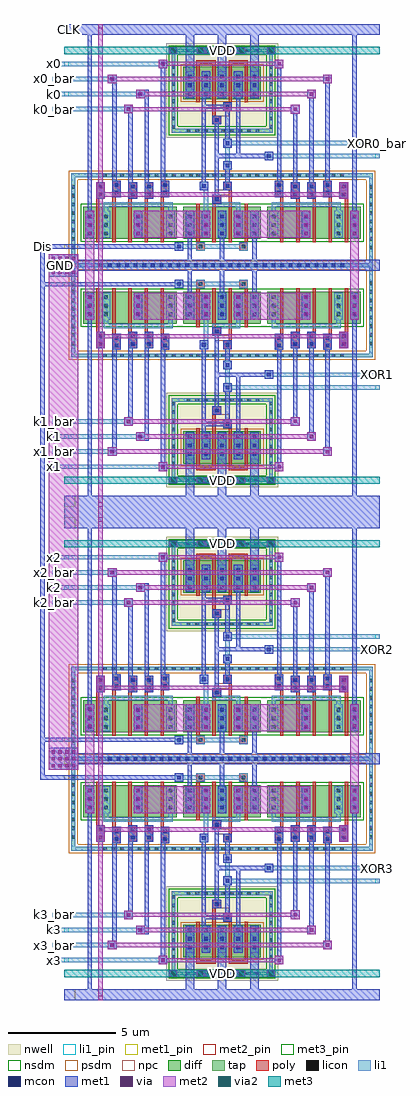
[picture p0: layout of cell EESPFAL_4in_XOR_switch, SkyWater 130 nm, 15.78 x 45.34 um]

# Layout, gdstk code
import gdstk
lib = gdstk.Library(unit=1e-6, precision=1e-09)
def R(c, l, rs):  # rectangles x0, y0, x1, y1
    for r in rs: c.add(gdstk.rectangle(r[:2], r[2:], *l))
def A(c, l, x, y, w, h, nx, ny, dx, dy):  # array of equal rectangles
    R(c, l, [(x+i*dx, y+j*dy, x+i*dx+w, y+j*dy+h) for i in range(nx) for j in range(ny)])
nwell = (64, 20)
diff = (65, 20)
tap = (65, 44)
poly = (66, 20)
licon = (66, 44)
li1_pin = (67, 16)
li1 = (67, 20)
mcon = (67, 44)
met1_pin = (68, 16)
met1 = (68, 20)
via = (68, 44)
met2_pin = (69, 16)
met2 = (69, 20)
via2 = (69, 44)
met3_pin = (70, 16)
met3 = (70, 20)
nsdm = (93, 44)
psdm = (94, 20)
npc = (95, 20)

eespfal_xor_switch = lib.new_cell('EESPFAL_XOR_switch')
R(eespfal_xor_switch, nwell, [(4.725,6.165,9.925,10.565)])
R(eespfal_xor_switch, diff, [(0.875,1.475,5.225,2.975), (5.525,1.475,9.125,2.975), (9.425,1.475,13.775,2.975), (5.525,7.965,9.125,9.465)])
R(eespfal_xor_switch, tap, [(0.325,0.165,14.325,0.335), (0.325,0.335,0.495,4.35), (14.155,0.335,14.325,4.35), (0.325,4.35,14.325,4.52), (4.975,6.415,9.675,6.585), (4.975,6.585,5.145,10.145), (9.505,6.585,9.675,10.145), (4.975,10.145,9.675,10.315)])
R(eespfal_xor_switch, poly, [(6.125,0.92,6.525,1.32), (8.125,0.92,8.525,1.32), (6.125,1.32,6.275,3.12), (6.875,1.32,7.025,3.12), (7.625,1.32,7.775,3.74), (8.375,1.32,8.525,3.12), (1.475,1.325,1.625,3.345), (2.225,1.325,2.375,3.42), (2.975,1.325,3.125,3.345), (3.725,1.325,3.875,3.345), (4.475,1.325,4.625,3.42), (10.025,1.325,10.175,3.42), (10.775,1.325,10.925,3.345), (11.525,1.325,11.675,3.345), (12.275,1.325,12.425,3.42), (13.025,1.325,13.175,3.345), (6.875,3.12,7.275,3.52), (1.475,3.345,1.875,4.105), (2.975,3.345,3.375,4.105), (3.725,3.345,4.125,4.105), (10.525,3.345,10.925,4.105), (11.275,3.345,11.675,4.105), (12.775,3.345,13.175,4.105), (2.22,3.42,2.62,4.18), (4.475,3.42,4.875,4.18), (9.775,3.42,10.175,4.18), (12.025,3.42,12.425,4.18), (7.375,3.74,7.775,4.14), (6.875,6.795,7.275,7.195), (6.875,7.195,7.025,9.615), (7.375,7.415,7.775,7.815), (6.125,7.815,6.275,9.615), (7.625,7.815,7.775,9.615), (8.375,7.815,8.525,9.615), (6.125,9.615,7.025,9.765), (7.625,9.615,8.525,9.765)])
A(eespfal_xor_switch, licon, 1.62, 0.165, 0.17, 0.17, 29, 1, 0.4, 0)
A(eespfal_xor_switch, licon, 0.325, 0.995, 0.17, 0.17, 1, 8, 0, 0.4)
A(eespfal_xor_switch, licon, 14.155, 0.995, 0.17, 0.17, 1, 8, 0, 0.4)
A(eespfal_xor_switch, licon, 1.09, 1.64, 0.17, 0.17, 1, 3, 0, 0.4)
A(eespfal_xor_switch, licon, 1.84, 1.64, 0.17, 0.17, 3, 3, 1.5, 0.4)
A(eespfal_xor_switch, licon, 5.74, 1.64, 0.17, 0.17, 5, 3, 0.75, 0.4)
A(eespfal_xor_switch, licon, 9.64, 1.64, 0.17, 0.17, 3, 3, 1.5, 0.4)
A(eespfal_xor_switch, licon, 13.39, 1.64, 0.17, 0.17, 1, 3, 0, 0.4)
A(eespfal_xor_switch, licon, 1.795, 4.35, 0.17, 0.17, 11, 1, 0.4, 0)
A(eespfal_xor_switch, licon, 6.875, 4.35, 0.17, 0.17, 8, 1, 0.4, 0)
A(eespfal_xor_switch, licon, 10.015, 4.35, 0.17, 0.17, 8, 1, 0.4, 0)
A(eespfal_xor_switch, licon, 5.685, 6.415, 0.17, 0.17, 9, 1, 0.4, 0)
A(eespfal_xor_switch, licon, 4.975, 6.585, 0.17, 0.17, 1, 8, 0, 0.4)
A(eespfal_xor_switch, licon, 9.505, 6.585, 0.17, 0.17, 1, 8, 0, 0.4)
A(eespfal_xor_switch, licon, 5.74, 8.13, 0.17, 0.17, 5, 3, 0.75, 0.4)
A(eespfal_xor_switch, licon, 5.625, 10.145, 0.17, 0.17, 9, 1, 0.4, 0)
R(eespfal_xor_switch, licon, [(6.24,1.035,6.41,1.205), (8.24,1.035,8.41,1.205), (6.99,3.235,7.16,3.405), (1.59,3.46,1.76,3.63), (3.09,3.46,3.26,3.63), (3.84,3.46,4.01,3.63), (10.64,3.46,10.81,3.63), (11.39,3.46,11.56,3.63), (12.89,3.46,13.06,3.63), (2.335,3.535,2.505,3.705), (4.59,3.535,4.76,3.705), (9.89,3.535,10.06,3.705), (12.14,3.535,12.31,3.705), (1.59,3.82,1.76,3.99), (3.09,3.82,3.26,3.99), (3.84,3.82,4.01,3.99), (10.64,3.82,10.81,3.99), (11.39,3.82,11.56,3.99), (12.89,3.82,13.06,3.99), (7.49,3.855,7.66,4.025), (2.335,3.895,2.505,4.065), (4.59,3.895,4.76,4.065), (9.89,3.895,10.06,4.065), (12.14,3.895,12.31,4.065), (6.135,4.35,6.305,4.52), (6.535,4.35,6.705,4.52), (6.99,6.91,7.16,7.08), (7.49,7.53,7.66,7.7)])
A(eespfal_xor_switch, li1_pin, 0, 7.405, 0.2, 0.2, 1, 4, 0, 0.7)
R(eespfal_xor_switch, li1_pin, [(14.45,5.23,14.65,5.43), (14.45,5.83,14.65,6.03)])
A(eespfal_xor_switch, li1, 1.725, 1.525, 0.4, 1.25, 3, 1, 1.5, 0)
A(eespfal_xor_switch, li1, 5.625, 1.525, 0.4, 1.25, 5, 2, 0.75, 6.49)
A(eespfal_xor_switch, li1, 9.525, 1.525, 0.4, 1.25, 3, 1, 1.5, 0)
R(eespfal_xor_switch, li1, [(0.325,0.165,14.325,0.335), (0.325,0.335,0.495,4.35), (14.155,0.335,14.325,4.35), (5.125,0.92,5.525,1.02), (6.125,0.92,6.525,1.02), (8.125,0.92,8.525,1.02), (5.125,1.02,8.525,1.22), (5.125,1.22,5.525,1.32), (6.125,1.22,6.525,1.32), (8.125,1.22,8.525,1.32), (0.975,1.525,1.375,2.775), (13.275,1.525,13.675,2.775), (1.825,2.775,2.025,2.975), (4.825,2.775,5.025,2.975), (6.475,2.775,6.675,3.74), (7.975,2.775,8.175,2.975), (9.625,2.775,9.825,2.975), (12.625,2.775,12.825,2.975), (1.825,2.975,5.025,3.175), (6.875,2.975,8.175,3.175), (9.625,2.975,12.825,3.175), (6.875,3.175,7.275,3.52), (1.475,3.345,1.875,4.105), (2.975,3.345,3.375,4.105), (3.725,3.345,4.125,4.105), (10.525,3.345,10.925,4.105), (11.275,3.345,11.675,4.105), (12.775,3.345,13.175,4.105), (2.22,3.42,2.62,4.18), (4.475,3.42,4.875,4.18), (9.775,3.42,10.175,4.18), (12.025,3.42,12.425,4.18), (6.275,3.74,6.675,4.14), (7.375,3.74,7.775,4.14), (0.325,4.35,14.325,4.52), (7.375,4.69,7.775,5.09), (7.475,5.09,7.675,5.72), (9.295,5.13,9.695,5.23), (9.295,5.23,14.65,5.43), (9.295,5.43,9.695,5.53), (7.375,5.72,7.775,5.83), (7.375,5.83,14.65,6.03), (7.375,6.03,7.775,6.12), (4.975,6.415,9.675,6.585), (4.975,6.585,5.145,10.145), (9.505,6.585,9.675,10.145), (6.875,6.795,7.275,7.195), (2.775,7.305,3.175,7.405), (0,7.405,3.175,7.605), (7.375,7.415,7.775,7.815), (2.775,7.605,3.175,7.705), (3.325,8.005,3.725,8.105), (0,8.105,3.725,8.305), (3.325,8.305,3.725,8.405), (2.02,8.705,2.42,8.805), (0,8.805,2.42,9.005), (2.02,9.005,2.42,9.105), (4.375,9.41,4.775,9.505), (0,9.505,4.775,9.705), (4.375,9.705,4.775,9.81), (4.975,10.145,9.675,10.315)])
A(eespfal_xor_switch, mcon, 1.62, 0.165, 0.17, 0.17, 29, 1, 0.4, 0)
A(eespfal_xor_switch, mcon, 1.09, 1.64, 0.17, 0.17, 1, 3, 0, 0.4)
A(eespfal_xor_switch, mcon, 3.34, 1.64, 0.17, 0.17, 1, 3, 0, 0.4)
A(eespfal_xor_switch, mcon, 5.74, 1.64, 0.17, 0.17, 5, 3, 0.75, 0.4)
A(eespfal_xor_switch, mcon, 11.14, 1.64, 0.17, 0.17, 1, 3, 0, 0.4)
A(eespfal_xor_switch, mcon, 13.39, 1.64, 0.17, 0.17, 1, 3, 0, 0.4)
A(eespfal_xor_switch, mcon, 5.74, 8.13, 0.17, 0.17, 5, 3, 0.75, 0.4)
R(eespfal_xor_switch, mcon, [(5.24,1.035,5.41,1.205), (6.99,3.235,7.16,3.405), (1.59,3.46,1.76,3.63), (3.09,3.46,3.26,3.63), (3.84,3.46,4.01,3.63), (10.64,3.46,10.81,3.63), (11.39,3.46,11.56,3.63), (12.89,3.46,13.06,3.63), (2.335,3.535,2.505,3.705), (4.59,3.535,4.76,3.705), (9.89,3.535,10.06,3.705), (12.14,3.535,12.31,3.705), (1.59,3.82,1.76,3.99), (3.09,3.82,3.26,3.99), (3.84,3.82,4.01,3.99), (10.64,3.82,10.81,3.99), (11.39,3.82,11.56,3.99), (12.89,3.82,13.06,3.99), (6.39,3.855,6.56,4.025), (7.49,3.855,7.66,4.025), (2.335,3.895,2.505,4.065), (4.59,3.895,4.76,4.065), (9.89,3.895,10.06,4.065), (12.14,3.895,12.31,4.065), (7.49,4.805,7.66,4.975), (9.41,5.245,9.58,5.415), (7.49,5.835,7.66,6.005), (6.99,6.91,7.16,7.08), (2.89,7.42,3.06,7.59), (7.49,7.53,7.66,7.7), (3.44,8.12,3.61,8.29), (2.135,8.82,2.305,8.99), (4.49,9.525,4.66,9.695), (4.975,10.145,5.145,10.315), (6.24,10.145,6.41,10.315), (6.64,10.145,6.81,10.315), (7.74,10.145,7.91,10.315), (8.14,10.145,8.31,10.315), (9.505,10.145,9.675,10.315)])
R(eespfal_xor_switch, met1_pin, [(0,0,0.5,0.5), (0,1.03,0.2,1.23), (0,10.96,0.5,11.46)])
A(eespfal_xor_switch, met1, 5.725, 0.5, 0.2, 1.025, 3, 1, 1.5, 0)
A(eespfal_xor_switch, met1, 5.625, 1.525, 0.4, 1.25, 5, 1, 0.75, 0)
A(eespfal_xor_switch, met1, 5.625, 8.015, 0.4, 2.945, 3, 1, 1.5, 0)
R(eespfal_xor_switch, met1, [(0,0,14.65,0.5), (5.125,0.92,5.525,1.03), (0,1.03,5.525,1.23), (5.125,1.23,5.525,1.32), (0.975,1.525,1.375,2.775), (3.225,1.525,3.625,2.775), (11.025,1.525,11.425,2.775), (13.275,1.525,13.675,2.775), (1.075,2.775,1.275,10.96), (13.375,2.775,13.575,10.96), (6.875,3.12,7.275,3.52), (1.475,3.345,1.875,4.105), (2.975,3.345,3.375,4.105), (3.725,3.345,4.125,4.105), (10.525,3.345,10.925,4.105), (11.275,3.345,11.675,4.105), (12.775,3.345,13.175,4.105), (2.22,3.42,2.62,4.18), (4.475,3.42,4.875,4.18), (9.775,3.42,10.175,4.18), (12.025,3.42,12.425,4.18), (6.975,3.52,7.175,5.23), (6.275,3.74,6.675,4.14), (7.375,3.74,7.775,4.14), (2.975,4.105,3.175,7.305), (3.725,4.105,3.925,8.005), (10.625,4.105,10.825,7.3), (11.375,4.105,11.575,8.005), (6.375,4.14,6.575,7.515), (7.475,4.14,7.675,4.69), (2.22,4.18,2.42,8.705), (4.475,4.18,4.675,9.41), (9.875,4.18,10.075,9.41), (12.125,4.18,12.325,8.705), (7.375,4.69,7.775,5.09), (9.295,5.13,9.695,5.23), (6.975,5.23,9.695,5.43), (6.975,5.43,7.175,6.795), (7.975,5.43,8.175,8.015), (9.295,5.43,9.695,5.53), (7.375,5.72,7.775,6.12), (7.475,6.12,7.675,7.415), (6.875,6.795,7.275,7.195), (10.525,7.3,10.925,7.7), (2.775,7.305,3.175,7.705), (7.375,7.415,7.775,7.515), (6.375,7.515,7.775,7.715), (6.375,7.715,6.575,8.015), (7.375,7.715,7.775,7.815), (3.325,8.005,3.925,8.405), (11.275,8.005,11.675,8.405), (6.375,8.015,6.775,9.265), (7.875,8.015,8.275,9.265), (2.02,8.705,2.42,9.105), (12.025,8.705,12.425,9.105), (4.375,9.41,4.775,9.81), (9.775,9.41,10.175,9.81), (4.9,10.1,5.22,10.36), (6.165,10.1,6.9,10.36), (7.665,10.1,8.4,10.36), (9.43,10.1,9.75,10.36), (0,10.96,14.65,11.46)])
A(eespfal_xor_switch, via, 3.35, 1.65, 0.15, 0.15, 1, 3, 0, 0.4)
A(eespfal_xor_switch, via, 6.5, 1.65, 0.15, 0.15, 1, 3, 0, 0.4)
A(eespfal_xor_switch, via, 8, 1.65, 0.15, 0.15, 1, 3, 0, 0.4)
A(eespfal_xor_switch, via, 11.15, 1.65, 0.15, 0.15, 1, 3, 0, 0.4)
R(eespfal_xor_switch, via, [(1.6,3.47,1.75,3.62), (12.9,3.47,13.05,3.62), (1.6,3.83,1.75,3.98), (12.9,3.83,13.05,3.98), (10.65,7.425,10.8,7.575), (2.9,7.43,3.05,7.58), (3.45,8.13,3.6,8.28), (11.4,8.13,11.55,8.28), (2.145,8.83,2.295,8.98), (12.15,8.83,12.3,8.98), (4.5,9.535,4.65,9.685), (9.9,9.535,10.05,9.685), (4.985,10.155,5.135,10.305), (6.25,10.155,6.4,10.305), (6.65,10.155,6.8,10.305), (7.75,10.155,7.9,10.305), (8.15,10.155,8.3,10.305), (9.515,10.155,9.665,10.305)])
R(eespfal_xor_switch, met2_pin, [(1.575,11.26,1.775,11.46)])
R(eespfal_xor_switch, met2, [(3.225,1.525,6.775,2.775), (7.875,1.525,11.425,2.775), (1.475,3.345,1.875,3.445), (12.775,3.345,13.175,3.445), (1.475,3.445,13.175,3.645), (1.475,3.645,1.875,4.105), (12.775,3.645,13.175,4.105), (1.575,4.105,1.775,11.46), (10.525,7.3,10.925,7.4), (2.775,7.305,3.175,7.4), (2.775,7.4,10.925,7.6), (2.775,7.6,3.175,7.705), (10.525,7.6,10.925,7.7), (3.325,8.005,3.725,8.105), (11.275,8.005,11.675,8.105), (3.325,8.105,11.675,8.305), (3.325,8.305,3.725,8.405), (11.275,8.305,11.675,8.405), (2.02,8.705,2.42,8.805), (12.025,8.705,12.425,8.805), (2.02,8.805,12.425,9.005), (2.02,9.005,2.42,9.105), (12.025,9.005,12.425,9.105), (4.375,9.41,4.775,9.51), (9.775,9.41,10.175,9.51), (4.375,9.51,10.175,9.71), (4.375,9.71,4.775,9.81), (9.775,9.71,10.175,9.81), (4.875,10.09,5.245,10.37), (6.14,10.09,6.91,10.37), (7.64,10.09,8.41,10.37), (9.405,10.09,9.775,10.37)])
R(eespfal_xor_switch, via2, [(4.96,10.13,5.16,10.33), (6.225,10.13,6.425,10.33), (6.625,10.13,6.825,10.33), (7.725,10.13,7.925,10.33), (8.125,10.13,8.325,10.33), (9.49,10.13,9.69,10.33)])
R(eespfal_xor_switch, met3_pin, [(0,10.065,14.65,10.395)])
R(eespfal_xor_switch, met3, [(0,10.065,14.65,10.395)])
R(eespfal_xor_switch, nsdm, [(0.75,1.35,13.9,3.1), (4.85,6.29,9.8,6.71), (4.85,6.71,5.27,10.02), (9.38,6.71,9.8,10.02), (4.85,10.02,9.8,10.44)])
R(eespfal_xor_switch, psdm, [(0.2,0.04,14.45,0.46), (0.2,0.46,0.62,4.225), (14.03,0.46,14.45,4.225), (0.2,4.225,14.45,4.645), (5.4,7.84,9.25,9.59)])
R(eespfal_xor_switch, npc, [(6.14,0.935,6.51,1.305), (8.14,0.935,8.51,1.305), (6.89,3.135,7.26,3.495), (1.49,3.36,1.86,4.09), (2.99,3.36,3.36,4.09), (3.74,3.36,4.11,4.09), (10.54,3.36,10.91,4.09), (11.29,3.36,11.66,4.09), (12.79,3.36,13.16,4.09), (2.235,3.435,2.605,4.165), (4.49,3.435,4.86,4.165), (9.79,3.435,10.16,4.165), (12.04,3.435,12.41,4.165), (6.89,3.495,7.66,3.505), (6.99,3.505,7.66,3.755), (6.99,3.755,7.76,3.765), (7.39,3.765,7.76,4.125), (6.89,6.81,7.26,7.17), (6.89,7.17,7.66,7.18), (6.99,7.18,7.66,7.43), (6.99,7.43,7.76,7.44), (7.39,7.44,7.76,7.8)])
eespfal_xor_switch.add(gdstk.Label('A', (0.1,9.605), layer=67, texttype=5))
eespfal_xor_switch.add(gdstk.Label('A_bar', (0.1,8.905), layer=67, texttype=5))
eespfal_xor_switch.add(gdstk.Label('B', (0.1,8.205), layer=67, texttype=5))
eespfal_xor_switch.add(gdstk.Label('B_bar', (0.1,7.505), layer=67, texttype=5))
eespfal_xor_switch.add(gdstk.Label('OUT_bar', (14.55,5.93), layer=67, texttype=5))
eespfal_xor_switch.add(gdstk.Label('OUT', (14.55,5.33), layer=67, texttype=5))
eespfal_xor_switch.add(gdstk.Label('VDD', (7.325,10.23), layer=70, texttype=5))
eespfal_xor_switch.add(gdstk.Label('CLK', (0.25,11.21), layer=68, texttype=5))
eespfal_xor_switch.add(gdstk.Label('Dis', (0.1,1.13), layer=68, texttype=5))
eespfal_xor_switch.add(gdstk.Label('GND', (0.25,0.25), layer=68, texttype=5))
eespfal_xor_switch.add(gdstk.Label('Dis_Phase', (1.675,11.36), layer=69, texttype=5))

eespfal_4in_xor_switch = lib.new_cell('EESPFAL_4in_XOR_switch')
A(eespfal_4in_xor_switch, li1_pin, 0.525, 1.645, 0.2, 0.2, 1, 4, 0, 0.7)
A(eespfal_4in_xor_switch, li1_pin, 0.525, 18.255, 0.2, 0.2, 1, 4, 0, 0.7)
A(eespfal_4in_xor_switch, li1_pin, 0.525, 24.565, 0.2, 0.2, 1, 4, 0, 0.7)
A(eespfal_4in_xor_switch, li1_pin, 0.525, 41.175, 0.2, 0.2, 1, 4, 0, 0.7)
R(eespfal_4in_xor_switch, li1_pin, [(15.515,5.32,15.715,5.52), (15.515,5.92,15.715,6.12), (15.515,16.08,15.715,16.28), (15.515,16.68,15.715,16.88), (15.515,28.24,15.715,28.44), (15.515,28.84,15.715,29.04), (15.515,39,15.715,39.2), (15.515,39.6,15.715,39.8)])
A(eespfal_4in_xor_switch, li1, 0.525, 1.645, 0.54, 0.2, 1, 4, 0, 0.7)
A(eespfal_4in_xor_switch, li1, 0.525, 18.255, 0.54, 0.2, 1, 4, 0, 0.7)
A(eespfal_4in_xor_switch, li1, 0.525, 24.565, 0.54, 0.2, 1, 4, 0, 0.7)
A(eespfal_4in_xor_switch, li1, 0.525, 41.175, 0.54, 0.2, 1, 4, 0, 0.7)
R(eespfal_4in_xor_switch, li1, [(15.515,5.32,15.715,5.52), (15.515,5.92,15.715,6.12), (15.515,16.08,15.715,16.28), (15.515,16.68,15.715,16.88), (15.515,28.24,15.715,28.44), (15.515,28.84,15.715,29.04), (15.515,39,15.715,39.2), (15.515,39.6,15.715,39.8)])
R(eespfal_4in_xor_switch, met1_pin, [(-0.06,34.8,0.14,35), (1.065,44.73,1.565,45.23)])
A(eespfal_4in_xor_switch, met1, 2.11, 8.695, 0.26, 0.26, 1, 3, 0, 0.4)
A(eespfal_4in_xor_switch, met1, 14.41, 8.695, 0.26, 0.26, 1, 3, 0, 0.4)
A(eespfal_4in_xor_switch, met1, 2.11, 12.495, 0.26, 0.26, 1, 3, 0, 0.4)
A(eespfal_4in_xor_switch, met1, 14.41, 12.495, 0.26, 0.26, 1, 3, 0, 0.4)
A(eespfal_4in_xor_switch, met1, 2.11, 31.615, 0.26, 0.26, 1, 3, 0, 0.4)
A(eespfal_4in_xor_switch, met1, 14.41, 31.615, 0.26, 0.26, 1, 3, 0, 0.4)
A(eespfal_4in_xor_switch, met1, 2.11, 35.365, 0.26, 0.26, 1, 3, 0, 0.4)
A(eespfal_4in_xor_switch, met1, 14.41, 35.365, 0.26, 0.26, 1, 3, 0, 0.4)
R(eespfal_4in_xor_switch, met1, [(-0.06,10.12,1.065,10.32), (-0.06,10.32,0.14,11.88), (0.34,10.575,1.7,11.615), (-0.06,11.88,1.065,12.08), (-0.06,12.08,0.14,33.04), (1.065,22.31,15.715,22.81), (-0.06,33.04,1.065,33.24), (-0.06,33.24,0.14,34.8), (0.34,33.5,1.7,34.54), (-0.06,34.8,1.065,35), (1.065,44.73,1.565,45.23)])
A(eespfal_4in_xor_switch, via, 2.165, 8.75, 0.15, 0.15, 1, 3, 0, 0.4)
A(eespfal_4in_xor_switch, via, 14.465, 8.75, 0.15, 0.15, 1, 3, 0, 0.4)
A(eespfal_4in_xor_switch, via, 0.465, 10.7, 0.15, 0.15, 4, 3, 0.32, 0.32)
A(eespfal_4in_xor_switch, via, 2.165, 12.55, 0.15, 0.15, 1, 3, 0, 0.4)
A(eespfal_4in_xor_switch, via, 14.465, 12.55, 0.15, 0.15, 1, 3, 0, 0.4)
A(eespfal_4in_xor_switch, via, 2.165, 31.67, 0.15, 0.15, 1, 3, 0, 0.4)
A(eespfal_4in_xor_switch, via, 14.465, 31.67, 0.15, 0.15, 1, 3, 0, 0.4)
A(eespfal_4in_xor_switch, via, 0.465, 33.625, 0.15, 0.15, 4, 3, 0.32, 0.32)
A(eespfal_4in_xor_switch, via, 2.165, 35.42, 0.15, 0.15, 1, 3, 0, 0.4)
A(eespfal_4in_xor_switch, via, 14.465, 35.42, 0.15, 0.15, 1, 3, 0, 0.4)
R(eespfal_4in_xor_switch, met2_pin, [(0.34,33.5,1.38,34.54), (2.64,45.03,2.84,45.23)])
R(eespfal_4in_xor_switch, met2, [(2.64,8.005,2.84,14.195), (2.04,8.575,2.44,13.625), (14.34,8.575,14.74,13.625), (0.34,10.575,1.7,34.54), (2.64,22.31,2.84,22.81), (2.64,30.765,2.84,37.155), (2.04,31.495,2.44,36.545), (14.34,31.495,14.74,36.545), (2.64,45.03,2.84,45.23)])
R(eespfal_4in_xor_switch, met3_pin, [(1.065,0.955,15.715,1.285), (1.065,20.915,15.715,21.245), (1.065,23.875,15.715,24.205), (1.065,43.835,15.715,44.165)])
R(eespfal_4in_xor_switch, met3, [(1.065,0.955,15.715,1.285), (1.065,20.915,15.715,21.245), (1.065,23.875,15.715,24.205), (1.065,43.835,15.715,44.165)])
eespfal_4in_xor_switch.add(gdstk.Reference(eespfal_xor_switch, (1.065,34.27), x_reflection=True))
eespfal_4in_xor_switch.add(gdstk.Reference(eespfal_xor_switch, (1.065,11.35), x_reflection=True))
eespfal_4in_xor_switch.add(gdstk.Reference(eespfal_xor_switch, (1.065,10.85)))
eespfal_4in_xor_switch.add(gdstk.Reference(eespfal_xor_switch, (1.065,33.77)))
eespfal_4in_xor_switch.add(gdstk.Label('XOR2', (15.61,16.155), layer=67, texttype=5))
eespfal_4in_xor_switch.add(gdstk.Label('k3_bar', (0.625,3.845), layer=67, texttype=5))
eespfal_4in_xor_switch.add(gdstk.Label('k3', (0.625,3.145), layer=67, texttype=5))
eespfal_4in_xor_switch.add(gdstk.Label('x3_bar', (0.625,2.445), layer=67, texttype=5))
eespfal_4in_xor_switch.add(gdstk.Label('x3', (0.625,1.745), layer=67, texttype=5))
eespfal_4in_xor_switch.add(gdstk.Label('k1_bar', (0.625,26.765), layer=67, texttype=5))
eespfal_4in_xor_switch.add(gdstk.Label('k1', (0.625,26.065), layer=67, texttype=5))
eespfal_4in_xor_switch.add(gdstk.Label('x1_bar', (0.625,25.365), layer=67, texttype=5))
eespfal_4in_xor_switch.add(gdstk.Label('x1', (0.625,24.665), layer=67, texttype=5))
eespfal_4in_xor_switch.add(gdstk.Label('XOR1', (15.615,28.94), layer=67, texttype=5))
eespfal_4in_xor_switch.add(gdstk.Label('XOR1_bar', (15.615,28.34), layer=67, texttype=5))
eespfal_4in_xor_switch.add(gdstk.Label('XOR3', (15.615,6.02), layer=67, texttype=5))
eespfal_4in_xor_switch.add(gdstk.Label('XOR3_bar', (15.615,5.42), layer=67, texttype=5))
eespfal_4in_xor_switch.add(gdstk.Label('k0_bar', (0.625,41.275), layer=67, texttype=5))
eespfal_4in_xor_switch.add(gdstk.Label('k0', (0.625,41.975), layer=67, texttype=5))
eespfal_4in_xor_switch.add(gdstk.Label('x0_bar', (0.625,42.675), layer=67, texttype=5))
eespfal_4in_xor_switch.add(gdstk.Label('x0', (0.625,43.375), layer=67, texttype=5))
eespfal_4in_xor_switch.add(gdstk.Label('XOR0_bar', (15.615,39.7), layer=67, texttype=5))
eespfal_4in_xor_switch.add(gdstk.Label('XOR0', (15.615,39.1), layer=67, texttype=5))
eespfal_4in_xor_switch.add(gdstk.Label('x2', (0.625,20.455), layer=67, texttype=5))
eespfal_4in_xor_switch.add(gdstk.Label('x2_bar', (0.625,19.755), layer=67, texttype=5))
eespfal_4in_xor_switch.add(gdstk.Label('k2_bar', (0.625,18.355), layer=67, texttype=5))
eespfal_4in_xor_switch.add(gdstk.Label('k2', (0.625,19.055), layer=67, texttype=5))
eespfal_4in_xor_switch.add(gdstk.Label('XOR2', (15.615,16.18), layer=67, texttype=5))
eespfal_4in_xor_switch.add(gdstk.Label('XOR2_bar', (15.615,16.78), layer=67, texttype=5))
eespfal_4in_xor_switch.add(gdstk.Label('VDD', (8.39,21.08), layer=70, texttype=5))
eespfal_4in_xor_switch.add(gdstk.Label('VDD', (8.39,44), layer=70, texttype=5))
eespfal_4in_xor_switch.add(gdstk.Label('VDD', (8.39,1.12), layer=70, texttype=5))
eespfal_4in_xor_switch.add(gdstk.Label('VDD', (8.39,24.04), layer=70, texttype=5))
eespfal_4in_xor_switch.add(gdstk.Label('Dis', (0.04,34.9), layer=68, texttype=5))
eespfal_4in_xor_switch.add(gdstk.Label('CLK', (1.315,44.98), layer=68, texttype=5))
eespfal_4in_xor_switch.add(gdstk.Label('Dis_Phase', (2.74,45.13), layer=69, texttype=5))
eespfal_4in_xor_switch.add(gdstk.Label('GND', (0.86,34.02), layer=69, texttype=5))

lib.write_gds('EESPFAL_4in_XOR_switch.gds')
